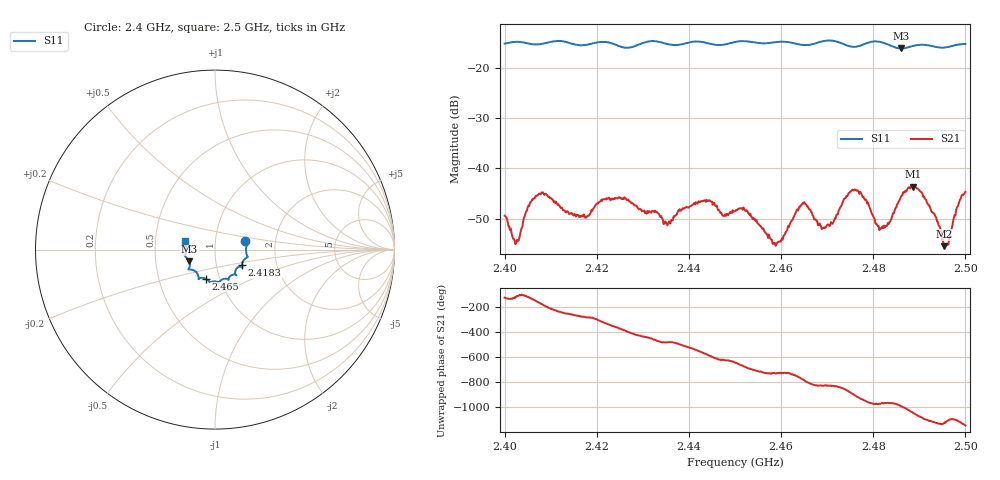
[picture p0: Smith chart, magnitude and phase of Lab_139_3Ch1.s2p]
# Hz S RI R 50
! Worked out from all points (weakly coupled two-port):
!   601 points, 2.4 GHz to 2.5 GHz, reference 50 ohm
!   highest |S21| = -43.64 dB at 2.4887 GHz (marker M1); lowest = -55.5 dB at 2.4953 GHz (marker M2)
!   lowest |S11| = -16.1 dB at 2.486 GHz (marker M3), VSWR 1.37, Z = 37.2 - j4.95 ohm
!   |S11| at or under -10 dB: start of sweep to end of sweep
!   S12 and S22 are empty: the file has one direction only
!   S11 on the Smith chart (normalised r, x): 2.4 GHz: 1.40, +0.13; 2.4183 GHz: 1.33, -0.24; 2.465 GHz: 0.86, -0.29; 2.5 GHz: 0.71, +0.07
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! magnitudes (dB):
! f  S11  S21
! 2.4 GHz  -15.1  -49.4
! 2.4025 GHz  -14.7  -54.9
! 2.4055 GHz  -15.1  -46.9
! 2.4078 GHz  -15.2  -45.2
! 2.4167 GHz  -15.4  -49.5
! 2.4183 GHz  -15.2  -49.4
! 2.4245 GHz  -15.5  -46.0
! 2.4333 GHz  -14.7  -49.0
! 2.4355 GHz  -15.2  -51.0
! 2.4438 GHz  -15.0  -46.3
! 2.45 GHz  -14.8  -48.5
! 2.4587 GHz  -14.8  -54.9
! 2.465 GHz  -15.4  -46.7
! 2.4667 GHz  -15.3  -48.8
! 2.4693 GHz  -14.6  -51.7
! 2.476 GHz  -15.8  -44.2
! 2.481 GHz  -14.7  -51.5
! 2.4833 GHz  -15.3  -51.1
! 2.486 GHz  -16.1  -45.7
! 2.4887 GHz  -15.6  -43.6
! 2.4953 GHz  -15.9  -55.5
! 2.5 GHz  -15.2  -44.7
